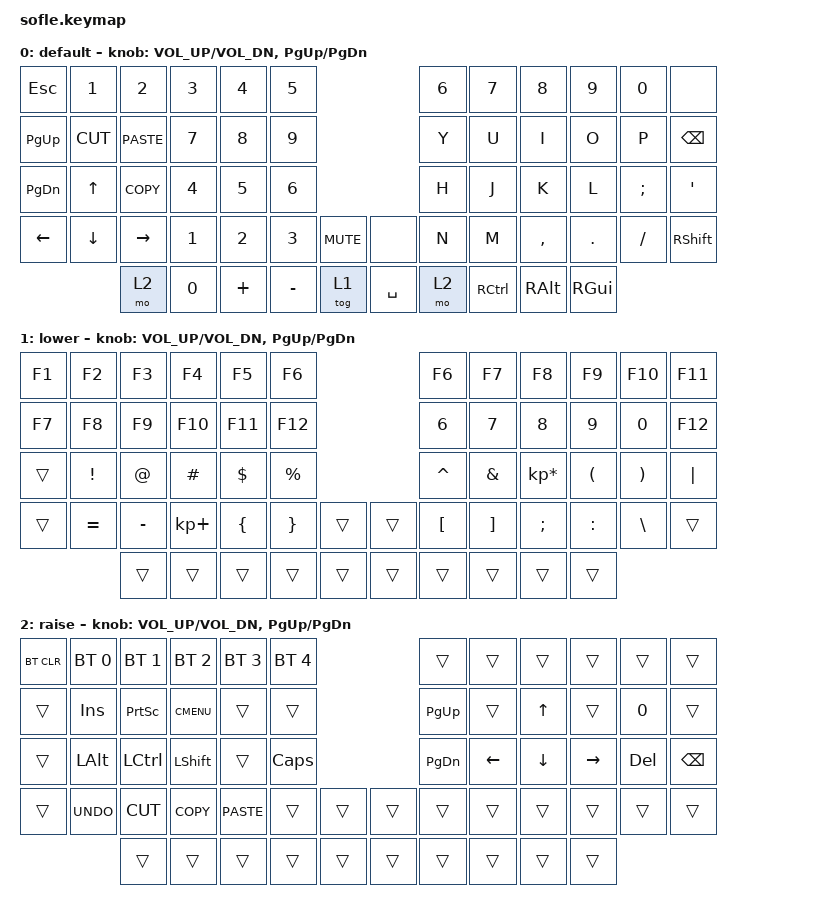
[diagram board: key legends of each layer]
/*
 * Copyright (c) 2020 The ZMK Contributors
 *
 * SPDX-License-Identifier: MIT
 */

#include <behaviors.dtsi>
#include <dt-bindings/zmk/bt.h>
#include <dt-bindings/zmk/keys.h>

#define BASE 0
#define LOWER 1
#define RAISE 2
#define ADJUST 3

/ {
    // Activate ADJUST layer by pressing raise and lower

    conditional_layers {
        compatible = "zmk,conditional-layers";

        adjust_layer {
            if-layers = <1 2>;
            then-layer = <3>;
        };
    };

    keymap {
        compatible = "zmk,keymap";

        default_layer {
            display-name = "default";

            // ------------------------------------------------------------------------------------------------------------
            // |   `   |  1  |  2  |  3   |  4   |  5   |                   |  6   |  7    |  8    |  9   |   0   |       |
            // |  ESC  |  Q  |  W  |  E   |  R   |  T   |                   |  Y   |  U    |  I    |  O   |   P   | BKSPC |
            // |  TAB  |  A  |  S  |  D   |  F   |  G   |                   |  H   |  J    |  K    |  L   |   ;   |   '   |
            // | SHIFT |  Z  |  X  |  C   |  V   |  B   |  MUTE  |  |       |  N   |  M    |  ,    |  .   |   /   | SHIFT |
            //               | GUI | ALT  | CTRL | LOWER|  ENTER |  | SPACE | RAISE| CTRL  | ALT   | GUI  |

            bindings = <
&kp ESCAPE     &kp N1        &kp N2       &kp N3        &kp N4        &kp N5                                 &kp N6  &kp N7     &kp N8     &kp N9    &kp N0    &none
&kp PAGE_UP    &kp K_CUT     &kp K_PASTE  &kp NUMBER_7  &kp NUMBER_8  &kp NUMBER_9                           &kp Y   &kp U      &kp I      &kp O     &kp P     &kp BSPC
&kp PAGE_DOWN  &kp UP_ARROW  &kp K_COPY   &kp NUMBER_4  &kp NUMBER_5  &kp NUMBER_6                           &kp H   &kp J      &kp K      &kp L     &kp SEMI  &kp SQT
&kp LEFT       &kp DOWN      &kp RIGHT    &kp NUMBER_1  &kp NUMBER_2  &kp NUMBER_3  &kp C_MUTE    &none      &kp N   &kp M      &kp COMMA  &kp DOT   &kp FSLH  &kp RSHFT
                             &mo 2        &kp N0        &kp PLUS      &kp MINUS     &tog 1        &kp SPACE  &mo 2   &kp RCTRL  &kp RALT   &kp RGUI
            >;

            sensor-bindings = <&inc_dec_kp C_VOL_UP C_VOL_DN &inc_dec_kp PG_UP PG_DN>;
        };

        lower_layer {
            display-name = "lower";

            // TODO: Some binds are waiting for shifted keycode support.
            // ------------------------------------------------------------------------------------------------------------
            // |       |  F1 |  F2 |  F3  |  F4  |  F5  |                   |  F6  |  F7   |  F8   |  F9  |  F10  |  F11  |
            // |   `   |  1  |  2  |  3   |  4   |  5   |                   |  6   |  7    |  8    |  9   |   0   |  F12  |
            // |       |  !  |  @  |  #   |  $   |  %   |                   |  ^   |  &    |  *    |  (   |   )   |   |   |
            // |       |  =  |  -  |  +   |  {   |  }   |        |  |       |  [   |  ]    |  ;    |  :   |   \   |       |
            //               |     |      |      |      |        |  |       |      |       |       |      |

            bindings = <
&kp F1  &kp F2     &kp F3     &kp F4       &kp F5    &kp F6                       &kp F6     &kp F7    &kp F8           &kp F9     &kp F10   &kp F11
&kp F7  &kp F8     &kp F9     &kp F10      &kp F11   &kp F12                      &kp N6     &kp N7    &kp N8           &kp N9     &kp N0    &kp F12
&trans  &kp EXCL   &kp AT     &kp HASH     &kp DLLR  &kp PRCNT                    &kp CARET  &kp AMPS  &kp KP_MULTIPLY  &kp LPAR   &kp RPAR  &kp PIPE
&trans  &kp EQUAL  &kp MINUS  &kp KP_PLUS  &kp LBRC  &kp RBRC   &trans    &trans  &kp LBKT   &kp RBKT  &kp SEMI         &kp COLON  &kp BSLH  &trans
                   &trans     &trans       &trans    &trans     &trans    &trans  &trans     &trans    &trans           &trans
            >;

            sensor-bindings = <&inc_dec_kp C_VOL_UP C_VOL_DN &inc_dec_kp PG_UP PG_DN>;
        };

        raise_layer {
            display-name = "raise";

            // ------------------------------------------------------------------------------------------------------------
            // | BTCLR | BT1  | BT2  |  BT3  |  BT4  |  BT5 |                |      |      |       |      |       |       |
            // |       | INS  | PSCR | GUI   |       |      |                | PGUP |      |   ^   |      |       |       |
            // |       | ALT  | CTRL | SHIFT |       | CAPS |                | PGDN |   <- |   v   |  ->  |  DEL  | BKSPC |
            // |       | UNDO | CUT  | COPY  | PASTE |      |      |  |      |      |      |       |      |       |       |
            //                |      |       |       |      |      |  |      |      |      |       |      |

            bindings = <
&bt BT_CLR  &bt BT_SEL 0  &bt BT_SEL 1  &bt BT_SEL 2  &bt BT_SEL 3  &bt BT_SEL 4                    &trans     &trans    &trans    &trans     &trans   &trans
&trans      &kp INS       &kp PSCRN     &kp K_CMENU   &trans        &trans                          &kp PG_UP  &trans    &kp UP    &trans     &kp N0   &trans
&trans      &kp LALT      &kp LCTRL     &kp LSHFT     &trans        &kp CLCK                        &kp PG_DN  &kp LEFT  &kp DOWN  &kp RIGHT  &kp DEL  &kp BSPC
&trans      &kp K_UNDO    &kp K_CUT     &kp K_COPY    &kp K_PASTE   &trans        &trans    &trans  &trans     &trans    &trans    &trans     &trans   &trans
                          &trans        &trans        &trans        &trans        &trans    &trans  &trans     &trans    &trans    &trans
            >;

            sensor-bindings = <&inc_dec_kp C_VOL_UP C_VOL_DN &inc_dec_kp PG_UP PG_DN>;
        };
    };
};
